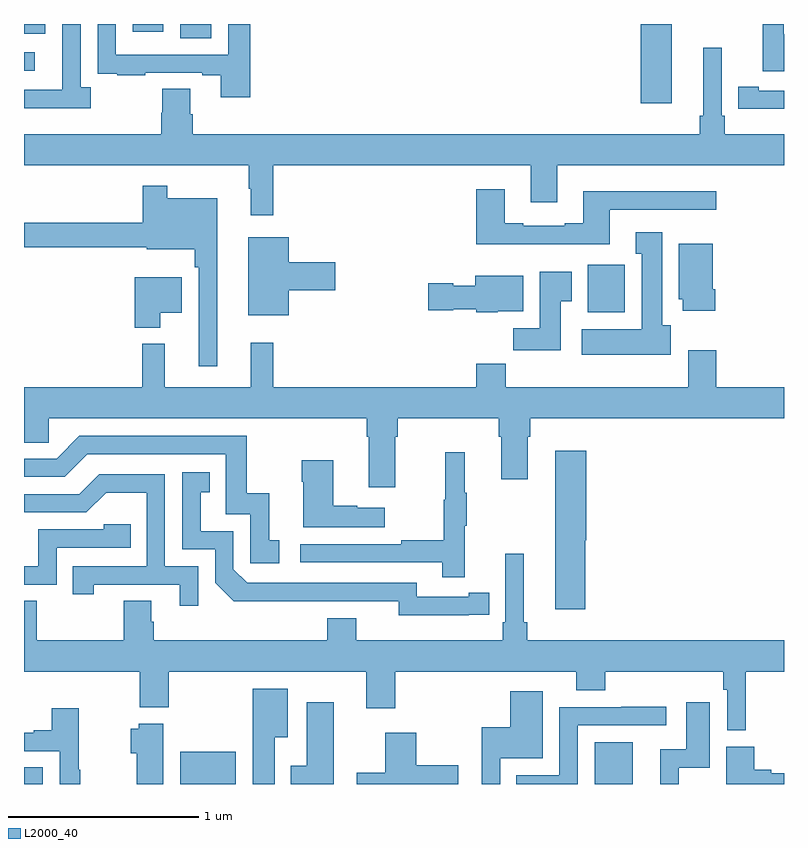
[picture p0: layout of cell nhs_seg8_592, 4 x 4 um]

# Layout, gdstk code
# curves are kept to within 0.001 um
import gdstk
lib = gdstk.Library(unit=1e-6, precision=1e-09)
def R(c, l, rs):  # rectangles x0, y0, x1, y1
    for r in rs: c.add(gdstk.rectangle(r[:2], r[2:], *l))
def P(c, l, *ps):  # polygons
    for p in ps: c.add(gdstk.Polygon(p, *l))
L2000_40 = (2000, 40)

nhs_seg8_592 = lib.new_cell('nhs_seg8_592')
R(nhs_seg8_592, L2000_40, [(149,1123.9,149.098,1123.988), (149.822,1123.9,150.115,1124.071), (152.003,1123.9,152.203,1124.119), (151.967,1126.382,152.163,1126.633), (152.246,1127.484,152.41,1127.9), (149,1127.655,149.056,1127.751), (149.822,1127.824,149.986,1127.9), (149,1127.849,149.113,1127.9), (149.573,1127.859,149.734,1127.9)])
P(nhs_seg8_592, L2000_40, [(153,1127.846),(152.998,1127.846),(152.998,1127.9),(152.888,1127.9),(152.888,1127.652),(153,1127.652)],
  [(149.35,1127.566),(149.298,1127.566),(149.298,1127.9),(149.202,1127.9),(149.202,1127.753),(149.201,1127.753),(149.201,1127.553),(149,1127.553),(149,1127.456),(149.35,1127.456)],
  [(150.191,1127.9),(150.075,1127.9),(150.075,1127.739),(149.484,1127.739),(149.484,1127.9),(149.388,1127.9),(149.388,1127.746),(149.389,1127.746),(149.389,1127.637),(149.491,1127.637),(149.491,1127.631),(149.639,1127.631),(149.639,1127.643),(149.939,1127.643),(149.939,1127.631),(150.035,1127.631),(150.035,1127.514),(150.191,1127.514)],
  [(150.311,1127.156),(151.667,1127.156),(151.667,1126.962),(151.807,1126.962),(151.807,1127.156),(153,1127.156),(153,1127.32),(152.687,1127.32),(152.687,1127.416),(152.673,1127.416),(152.673,1127.776),(152.576,1127.776),(152.576,1127.416),(152.557,1127.416),(152.557,1127.32),(149.888,1127.32),(149.888,1127.426),(149.875,1127.426),(149.875,1127.558),(149.728,1127.558),(149.728,1127.433),(149.723,1127.433),(149.723,1127.32),(149,1127.32),(149,1127.156),(150.183,1127.156),(150.183,1127.033),(150.194,1127.033),(150.194,1126.893),(150.311,1126.893)],
  [(153,1127.55),(152.866,1127.55),(152.866,1127.57),(152.758,1127.57),(152.758,1127.454),(152.866,1127.454),(152.866,1127.453),(153,1127.453)],
  [(150.016,1126.984),(149.755,1126.984),(149.755,1127.05),(149.626,1127.05),(149.626,1126.855),(149,1126.855),(149,1126.726),(149.645,1126.726),(149.645,1126.715),(149.899,1126.715),(149.899,1126.619),(149.919,1126.619),(149.919,1126.098),(150.016,1126.098)],
  [(152.083,1126.923),(152.644,1126.923),(152.644,1127.02),(151.943,1127.02),(151.943,1126.852),(151.847,1126.852),(151.847,1126.839),(151.627,1126.839),(151.627,1126.852),(151.531,1126.852),(151.531,1127.029),(151.379,1127.029),(151.379,1126.742),(152.083,1126.742)],
  [(152.404,1126.314),(152.359,1126.314),(152.359,1126.804),(152.219,1126.804),(152.219,1126.691),(152.252,1126.691),(152.252,1126.294),(151.935,1126.294),(151.935,1126.16),(152.404,1126.16)],
  [(150.394,1126.499),(150.637,1126.499),(150.637,1126.646),(150.394,1126.646),(150.394,1126.777),(150.179,1126.777),(150.179,1126.367),(150.394,1126.367)],
  [(152.639,1126.504),(152.626,1126.504),(152.626,1126.744),(152.447,1126.744),(152.447,1126.452),(152.468,1126.452),(152.468,1126.392),(152.639,1126.392)],
  [(151.825,1126.441),(151.882,1126.441),(151.882,1126.597),(151.715,1126.597),(151.715,1126.3),(151.576,1126.3),(151.576,1126.182),(151.825,1126.182)],
  [(151.494,1126.388),(151.627,1126.388),(151.627,1126.576),(151.376,1126.576),(151.376,1126.522),(151.26,1126.522),(151.26,1126.535),(151.128,1126.535),(151.128,1126.393),(151.26,1126.393),(151.26,1126.4),(151.38,1126.4),(151.38,1126.382),(151.494,1126.382)],
  [(149.716,1126.379),(149.83,1126.379),(149.83,1126.567),(149.582,1126.567),(149.582,1126.301),(149.716,1126.301)],
  [(150.955,1125.728),(150.968,1125.728),(150.968,1125.824),(151.499,1125.824),(151.499,1125.728),(151.511,1125.728),(151.511,1125.504),(151.651,1125.504),(151.651,1125.728),(151.664,1125.728),(151.664,1125.824),(153,1125.824),(153,1125.988),(152.643,1125.988),(152.643,1126.183),(152.495,1126.183),(152.495,1125.988),(151.535,1125.988),(151.535,1126.112),(151.379,1126.112),(151.379,1125.988),(150.311,1125.988),(150.311,1126.222),(150.194,1126.222),(150.194,1125.988),(149.741,1125.988),(149.741,1126.216),(149.623,1126.216),(149.623,1125.988),(149,1125.988),(149,1125.697),(149.13,1125.697),(149.13,1125.824),(150.803,1125.824),(150.803,1125.728),(150.815,1125.728),(150.815,1125.462),(150.955,1125.462)],
  [(150.343,1125.183),(150.29,1125.183),(150.29,1125.43),(150.172,1125.43),(150.172,1125.732),(149.292,1125.732),(149.172,1125.612),(149,1125.612),(149,1125.516),(149.214,1125.516),(149.334,1125.636),(150.063,1125.636),(150.063,1125.321),(150.192,1125.321),(150.192,1125.063),(150.343,1125.063)],
  [(151.955,1125.183),(151.96,1125.183),(151.96,1125.655),(151.796,1125.655),(151.796,1124.82),(151.955,1124.82)],
  [(151.319,1125.259),(151.33,1125.259),(151.33,1125.433),(151.319,1125.433),(151.319,1125.646),(151.216,1125.646),(151.216,1125.396),(151.209,1125.396),(151.209,1125.182),(150.985,1125.182),(150.985,1125.162),(150.453,1125.162),(150.453,1125.066),(151.201,1125.066),(151.201,1124.988),(151.319,1124.988)],
  [(150.898,1125.355),(150.755,1125.355),(150.755,1125.365),(150.628,1125.365),(150.628,1125.604),(150.463,1125.604),(150.463,1125.491),(150.47,1125.491),(150.47,1125.251),(150.898,1125.251)],
  [(151.34,1124.79),(151.448,1124.79),(151.448,1124.906),(151.34,1124.906),(151.34,1124.886),(151.068,1124.886),(151.068,1124.958),(150.174,1124.958),(150.102,1125.03),(150.102,1125.231),(149.929,1125.231),(149.929,1125.435),(149.978,1125.435),(149.978,1125.541),(149.832,1125.541),(149.832,1125.135),(150.006,1125.135),(150.006,1124.958),(150.104,1124.861),(150.972,1124.862),(150.972,1124.789)],
  [(149.916,1125.045),(149.742,1125.045),(149.742,1125.531),(149.396,1125.531),(149.291,1125.426),(149,1125.426),(149,1125.33),(149.328,1125.33),(149.432,1125.434),(149.646,1125.434),(149.646,1125.045),(149.257,1125.045),(149.257,1124.898),(149.368,1124.898),(149.368,1124.949),(149.819,1124.949),(149.819,1124.838),(149.916,1124.838)],
  [(149.172,1125.144),(149.561,1125.144),(149.561,1125.267),(149.421,1125.267),(149.421,1125.24),(149.076,1125.24),(149.076,1125.045),(149,1125.045),(149,1124.949),(149.172,1124.949)],
  [(150.748,1124.773),(150.596,1124.773),(150.596,1124.656),(149.684,1124.656),(149.684,1124.754),(149.671,1124.754),(149.671,1124.864),(149.524,1124.864),(149.524,1124.656),(149.067,1124.656),(149.067,1124.864),(149,1124.864),(149,1124.492),(149.608,1124.492),(149.608,1124.303),(149.763,1124.303),(149.763,1124.492),(150.8,1124.492),(150.8,1124.298),(150.953,1124.298),(150.953,1124.492),(151.907,1124.492),(151.907,1124.393),(152.06,1124.393),(152.06,1124.492),(152.68,1124.492),(152.68,1124.396),(152.7,1124.396),(152.7,1124.184),(152.799,1124.184),(152.799,1124.492),(153,1124.492),(153,1124.656),(151.649,1124.656),(151.649,1124.752),(151.63,1124.752),(151.63,1125.112),(151.533,1125.112),(151.533,1124.752),(151.52,1124.752),(151.52,1124.656),(150.748,1124.656)],
  [(150.319,1124.147),(150.388,1124.147),(150.388,1124.401),(150.203,1124.401),(150.203,1123.9),(150.319,1123.9)],
  [(151.506,1124.036),(151.729,1124.036),(151.729,1124.389),(151.559,1124.389),(151.559,1124.199),(151.41,1124.199),(151.41,1123.9),(151.506,1123.9)],
  [(150.631,1124.329),(150.488,1124.329),(150.488,1123.996),(150.404,1123.996),(150.404,1123.9),(150.631,1123.9)],
  [(152.446,1123.986),(152.608,1123.986),(152.608,1124.329),(152.486,1124.329),(152.486,1124.082),(152.348,1124.082),(152.348,1123.9),(152.446,1123.9)],
  [(151.914,1124.208),(152.38,1124.208),(152.38,1124.306),(152.143,1124.306),(152.143,1124.304),(151.818,1124.304),(151.818,1123.945),(151.591,1123.945),(151.591,1123.9),(151.914,1123.9)],
  [(149.296,1123.976),(149.288,1123.976),(149.288,1124.299),(149.147,1124.299),(149.147,1124.182),(149.051,1124.182),(149.051,1124.169),(149,1124.169),(149,1124.073),(149.187,1124.073),(149.187,1123.9),(149.296,1123.9)],
  [(149.734,1124.218),(149.604,1124.218),(149.604,1124.191),(149.561,1124.191),(149.561,1124.062),(149.593,1124.062),(149.593,1123.9),(149.734,1123.9)],
  [(151.285,1124),(151.065,1124),(151.065,1124.17),(150.902,1124.17),(150.902,1123.959),(150.75,1123.959),(150.75,1123.9),(151.285,1123.9)],
  [(153,1123.957),(152.932,1123.957),(152.932,1123.976),(152.844,1123.976),(152.844,1124.095),(152.696,1124.095),(152.696,1123.9),(153,1123.9)])

lib.write_gds('nhs_seg8_592.gds')
